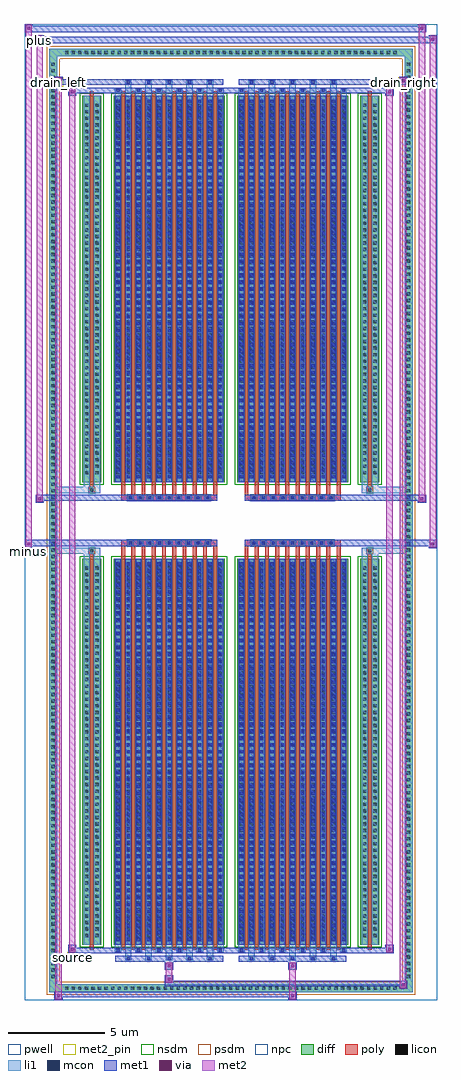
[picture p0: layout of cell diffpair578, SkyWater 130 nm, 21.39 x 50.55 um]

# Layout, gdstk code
import gdstk
lib = gdstk.Library(unit=1e-6, precision=5e-09)
def R(c, l, rs):  # rectangles x0, y0, x1, y1
    for r in rs: c.add(gdstk.rectangle(r[:2], r[2:], *l))
def A(c, l, x, y, w, h, nx, ny, dx, dy):  # array of equal rectangles
    R(c, l, [(x+i*dx, y+j*dy, x+i*dx+w, y+j*dy+h) for i in range(nx) for j in range(ny)])
def P(c, l, *ps):  # polygons
    for p in ps: c.add(gdstk.Polygon(p, *l))
pwell = (64, 44)
diff = (65, 20)
poly = (66, 20)
licon = (66, 44)
li1 = (67, 20)
mcon = (67, 44)
met1 = (68, 20)
via = (68, 44)
met2_pin = (69, 16)
met2 = (69, 20)
nsdm = (93, 44)
psdm = (94, 20)
npc = (95, 20)

diffpair578 = lib.new_cell('diffpair578')
R(diffpair578, pwell, [(-10.68,-24.84,10.68,25.71), (-8,-23.03,-0.01,-0.805), (0.01,-23.03,8,-0.805), (-8,0.805,-0.01,23.03), (0.01,0.805,8,23.03)])
A(diffpair578, diff, -8.705, -24.44, 0.41, 0.41, 51, 2, 0.34, 48.47)
A(diffpair578, diff, -9.41, -23.835, 0.41, 0.41, 1, 140, 0, 0.34)
A(diffpair578, diff, 9, -23.835, 0.41, 0.41, 1, 140, 0, 0.34)
R(diffpair578, diff, [(-8.705,-24.44,8.705,-24.03), (-9.41,-23.835,-9,23.835), (9,-23.835,9.41,23.835), (-7.69,-21.985,-6.71,-1.985), (-6.07,-21.985,-0.32,-1.985), (0.32,-21.985,6.07,-1.985), (6.71,-21.985,7.69,-1.985), (-7.69,1.985,-6.71,21.985), (-6.07,1.985,-0.32,21.985), (0.32,1.985,6.07,21.985), (6.71,1.985,7.69,21.985), (-8.705,24.03,8.705,24.44)])
P(diffpair578, diff, [(9.41,24.44),(-9.41,24.44),(-9.41,-24.03),(-9,-24.03),(-9,24.03),(9,24.03),(9,-24.03),(-9,-24.03),(-9.41,-24.03),(-9.41,-24.44),(9.41,-24.44)])
A(diffpair578, poly, -5.68, -22.235, 0.2, 20.5, 10, 2, 0.53, 23.97)
A(diffpair578, poly, 0.71, -22.235, 0.2, 20.5, 10, 2, 0.53, 23.97)
A(diffpair578, poly, -5.68, -1.735, 0.2, 0.4, 10, 2, 0.53, 3.07)
A(diffpair578, poly, 0.71, -1.735, 0.2, 0.4, 10, 2, 0.53, 3.07)
A(diffpair578, poly, -5.36, -1.335, 0.33, 0.33, 9, 2, 0.5, 2.34)
A(diffpair578, poly, 1.03, -1.335, 0.33, 0.33, 9, 2, 0.5, 2.34)
R(diffpair578, poly, [(-7.3,-22.235,-7.1,-1.735), (7.1,-22.235,7.3,-1.735), (-7.365,-1.735,-7.035,-1.405), (-7.365,-1.735,-7.035,-1.405), (7.035,-1.735,7.365,-1.405), (7.035,-1.735,7.365,-1.405), (-5.68,-1.335,-0.71,-1.005), (0.71,-1.335,5.68,-1.005), (-5.68,1.005,-0.71,1.335), (0.71,1.005,5.68,1.335), (-7.365,1.405,-7.035,1.735), (-7.365,1.405,-7.035,1.735), (7.035,1.405,7.365,1.735), (7.035,1.405,7.365,1.735), (-7.3,1.735,-7.1,22.235), (7.1,1.735,7.3,22.235)])
A(diffpair578, licon, -8.585, -24.32, 0.17, 0.17, 51, 2, 0.34, 48.47)
A(diffpair578, licon, -9.29, -23.715, 0.17, 0.17, 1, 140, 0, 0.34)
A(diffpair578, licon, 9.12, -23.715, 0.17, 0.17, 1, 140, 0, 0.34)
A(diffpair578, licon, -7.55, -21.59, 0.17, 0.17, 1, 57, 0, 0.34)
A(diffpair578, licon, -7.02, -21.59, 0.17, 0.17, 1, 57, 0, 0.34)
A(diffpair578, licon, -5.93, -21.59, 0.17, 0.17, 11, 57, 0.53, 0.34)
A(diffpair578, licon, 0.46, -21.59, 0.17, 0.17, 11, 57, 0.53, 0.34)
A(diffpair578, licon, 6.85, -21.59, 0.17, 0.17, 1, 57, 0, 0.34)
A(diffpair578, licon, 7.38, -21.59, 0.17, 0.17, 1, 57, 0, 0.34)
A(diffpair578, licon, -5.28, -1.255, 0.17, 0.17, 9, 2, 0.5, 2.34)
A(diffpair578, licon, 1.11, -1.255, 0.17, 0.17, 9, 2, 0.5, 2.34)
A(diffpair578, licon, -7.55, 2.38, 0.17, 0.17, 1, 57, 0, 0.34)
A(diffpair578, licon, -7.02, 2.38, 0.17, 0.17, 1, 57, 0, 0.34)
A(diffpair578, licon, -5.93, 2.38, 0.17, 0.17, 11, 57, 0.53, 0.34)
A(diffpair578, licon, 0.46, 2.38, 0.17, 0.17, 11, 57, 0.53, 0.34)
A(diffpair578, licon, 6.85, 2.38, 0.17, 0.17, 1, 57, 0, 0.34)
A(diffpair578, licon, 7.38, 2.38, 0.17, 0.17, 1, 57, 0, 0.34)
R(diffpair578, licon, [(-7.285,-1.655,-7.115,-1.485), (7.115,-1.655,7.285,-1.485), (-7.285,1.485,-7.115,1.655), (7.115,1.485,7.285,1.655)])
A(diffpair578, li1, -8.665, -24.4, 0.33, 0.33, 51, 2, 0.34, 48.47)
A(diffpair578, li1, -9.37, -23.795, 0.33, 0.33, 1, 140, 0, 0.34)
A(diffpair578, li1, 9.04, -23.795, 0.33, 0.33, 1, 140, 0, 0.34)
A(diffpair578, li1, -5.48, -22.79, 0.33, 0.805, 5, 2, 1.06, 44.775)
A(diffpair578, li1, -5.4, -22.79, 0.17, 0.17, 5, 2, 1.06, 45.41)
A(diffpair578, li1, 0.91, -22.79, 0.33, 0.805, 5, 2, 1.06, 44.775)
A(diffpair578, li1, 0.99, -22.79, 0.17, 0.17, 5, 2, 1.06, 45.41)
A(diffpair578, li1, -6.01, -22.36, 0.33, 0.375, 6, 2, 1.06, 44.345)
A(diffpair578, li1, -5.93, -22.36, 0.17, 0.17, 6, 2, 1.06, 44.55)
A(diffpair578, li1, 0.38, -22.36, 0.33, 0.375, 6, 2, 1.06, 44.345)
A(diffpair578, li1, 0.46, -22.36, 0.17, 0.17, 6, 2, 1.06, 44.55)
A(diffpair578, li1, -6.01, -21.985, 0.33, 20, 11, 2, 0.53, 23.97)
A(diffpair578, li1, 0.38, -21.985, 0.33, 20, 11, 2, 0.53, 23.97)
A(diffpair578, li1, -5.93, -21.79, 0.17, 0.17, 11, 55, 0.53, 0.36)
A(diffpair578, li1, -5.93, -21.79, 0.17, 19.61, 11, 2, 0.53, 23.97)
A(diffpair578, li1, 0.46, -21.79, 0.17, 0.17, 11, 55, 0.53, 0.36)
A(diffpair578, li1, 0.46, -21.79, 0.17, 19.61, 11, 2, 0.53, 23.97)
A(diffpair578, li1, -7.63, -21.67, 0.33, 0.33, 1, 57, 0, 0.34)
A(diffpair578, li1, -7.1, -21.67, 0.33, 0.33, 1, 57, 0, 0.34)
A(diffpair578, li1, -6.01, -21.67, 0.33, 0.33, 11, 57, 0.53, 0.34)
A(diffpair578, li1, 0.38, -21.67, 0.33, 0.33, 11, 57, 0.53, 0.34)
A(diffpair578, li1, 6.77, -21.67, 0.33, 0.33, 1, 57, 0, 0.34)
A(diffpair578, li1, 7.3, -21.67, 0.33, 0.33, 1, 57, 0, 0.34)
A(diffpair578, li1, -5.36, -1.335, 0.33, 0.33, 9, 2, 0.5, 2.34)
A(diffpair578, li1, 1.03, -1.335, 0.33, 0.33, 9, 2, 0.5, 2.34)
A(diffpair578, li1, -5.93, 2.18, 0.17, 0.17, 11, 55, 0.53, 0.36)
A(diffpair578, li1, 0.46, 2.18, 0.17, 0.17, 11, 55, 0.53, 0.36)
A(diffpair578, li1, -7.63, 2.3, 0.33, 0.33, 1, 57, 0, 0.34)
A(diffpair578, li1, -7.1, 2.3, 0.33, 0.33, 1, 57, 0, 0.34)
A(diffpair578, li1, -6.01, 2.3, 0.33, 0.33, 11, 57, 0.53, 0.34)
A(diffpair578, li1, 0.38, 2.3, 0.33, 0.33, 11, 57, 0.53, 0.34)
A(diffpair578, li1, 6.77, 2.3, 0.33, 0.33, 1, 57, 0, 0.34)
A(diffpair578, li1, 7.3, 2.3, 0.33, 0.33, 1, 57, 0, 0.34)
R(diffpair578, li1, [(-9.41,-24.44,-9,-24.03), (-9.41,-24.44,-9,-24.03), (-9,-24.44,9,-24.03), (9,-24.44,9.41,-24.03), (9,-24.44,9.41,-24.03), (-9.41,-24.03,-9,24.03), (9,-24.03,9.41,24.03), (-7.63,-21.985,-7.3,-1.985), (-7.1,-21.985,-6.77,-1.985), (6.77,-21.985,7.1,-1.985), (7.3,-21.985,7.63,-1.985), (-7.63,-1.985,-7.3,-1.405), (-7.1,-1.985,-6.77,-1.405), (6.77,-1.985,7.1,-1.405), (7.3,-1.985,7.63,-1.405), (-9.41,-1.735,-7.365,-1.405), (-7.63,-1.735,-7.365,-1.405), (-7.365,-1.735,-7.035,-1.405), (-7.035,-1.735,-6.77,-1.405), (6.77,-1.735,7.035,-1.405), (7.035,-1.735,7.365,-1.405), (7.035,-1.735,9.41,-1.405), (7.365,-1.735,7.63,-1.405), (-9.41,1.405,-7.365,1.735), (-7.63,1.405,-7.365,1.735), (-7.63,1.405,-7.3,1.985), (-7.365,1.405,-7.035,1.735), (-7.1,1.405,-6.77,1.985), (-7.035,1.405,-6.77,1.735), (6.77,1.405,7.035,1.735), (6.77,1.405,7.1,1.985), (7.035,1.405,7.365,1.735), (7.035,1.405,9.41,1.735), (7.3,1.405,7.63,1.985), (7.365,1.405,7.63,1.735), (-7.63,1.985,-7.3,21.985), (-7.1,1.985,-6.77,21.985), (6.77,1.985,7.1,21.985), (7.3,1.985,7.63,21.985), (-9.41,24.03,-9,24.44), (-9.41,24.03,-9,24.44), (-9,24.03,9,24.44), (9,24.03,9.41,24.44), (9,24.03,9.41,24.44)])
A(diffpair578, mcon, -5.4, -22.79, 0.17, 0.17, 5, 2, 1.06, 45.41)
A(diffpair578, mcon, 0.99, -22.79, 0.17, 0.17, 5, 2, 1.06, 45.41)
A(diffpair578, mcon, -5.93, -22.36, 0.17, 0.17, 6, 2, 1.06, 44.55)
A(diffpair578, mcon, 0.46, -22.36, 0.17, 0.17, 6, 2, 1.06, 44.55)
A(diffpair578, mcon, -5.93, -21.79, 0.17, 0.17, 11, 55, 0.53, 0.36)
A(diffpair578, mcon, 0.46, -21.79, 0.17, 0.17, 11, 55, 0.53, 0.36)
A(diffpair578, mcon, -5.28, -1.255, 0.17, 0.17, 9, 2, 0.5, 2.34)
A(diffpair578, mcon, 1.11, -1.255, 0.17, 0.17, 9, 2, 0.5, 2.34)
A(diffpair578, mcon, -5.93, 2.18, 0.17, 0.17, 11, 55, 0.53, 0.36)
A(diffpair578, mcon, 0.46, 2.18, 0.17, 0.17, 11, 55, 0.53, 0.36)
A(diffpair578, met1, -5.46, -22.85, 0.29, 0.29, 5, 2, 1.06, 45.41)
A(diffpair578, met1, 0.93, -22.85, 0.29, 0.29, 5, 2, 1.06, 45.41)
A(diffpair578, met1, -5.99, -22.42, 0.29, 0.29, 6, 2, 1.06, 44.55)
A(diffpair578, met1, 0.4, -22.42, 0.29, 0.29, 6, 2, 1.06, 44.55)
A(diffpair578, met1, -5.99, -21.985, 0.29, 20, 11, 2, 0.53, 23.97)
A(diffpair578, met1, 0.4, -21.985, 0.29, 20, 11, 2, 0.53, 23.97)
A(diffpair578, met1, -5.99, -21.85, 0.29, 0.29, 11, 55, 0.53, 0.36)
A(diffpair578, met1, 0.4, -21.85, 0.29, 0.29, 11, 55, 0.53, 0.36)
A(diffpair578, met1, -5.34, -1.315, 0.29, 0.29, 9, 2, 0.5, 2.34)
A(diffpair578, met1, 1.05, -1.315, 0.29, 0.29, 9, 2, 0.5, 2.34)
A(diffpair578, met1, -5.99, 2.12, 0.29, 0.29, 11, 55, 0.53, 0.36)
A(diffpair578, met1, 0.4, 2.12, 0.29, 0.29, 11, 55, 0.53, 0.36)
R(diffpair578, met1, [(-9.14,-24.84,-8.71,-24.41), (2.98,-24.84,3.41,-24.41), (-9.14,-24.7,3.41,-24.41), (8.71,-24.27,9.14,-23.84), (-3.41,-24.13,9.14,-23.84), (-3.41,-23.99,-2.98,-23.56), (-3.41,-23.28,-2.98,-22.85), (2.98,-23.28,3.41,-22.85), (-5.99,-22.85,-0.4,-22.56), (0.4,-22.85,5.99,-22.56), (-8.43,-22.42,-8,-21.99), (-8.43,-22.42,-5.99,-22.13), (-5.99,-22.42,-0.4,-22.13), (-0.4,-22.42,0.4,-22.13), (0.4,-22.42,5.99,-22.13), (5.99,-22.42,8.43,-22.13), (8,-22.42,8.43,-21.99), (-10.68,-1.435,-10.25,-1.005), (10.25,-1.435,10.68,-1.005), (-10.68,-1.335,-0.71,-1.005), (-5.68,-1.335,-0.71,-1.005), (0.71,-1.335,5.68,-1.005), (0.71,-1.335,10.68,-1.005), (-10.11,0.905,-9.68,1.335), (9.68,0.905,10.11,1.335), (-10.11,1.005,-5.68,1.335), (-5.68,1.005,-0.71,1.335), (0.71,1.005,5.68,1.335), (5.68,1.005,10.11,1.335), (-8.43,21.99,-8,22.42), (8,21.99,8.43,22.42), (-8.43,22.13,-5.99,22.42), (-5.99,22.13,-0.4,22.42), (-0.4,22.13,0.4,22.42), (0.4,22.13,5.99,22.42), (5.99,22.13,8.43,22.42), (-9.14,22.56,-8.71,22.99), (-9.14,22.56,-5.99,22.85), (-5.99,22.56,-0.4,22.85), (0.4,22.56,5.99,22.85), (5.99,22.56,9.14,22.85), (8.71,22.56,9.14,22.99), (-10.11,24.71,-9.68,25.14), (-10.11,24.71,-8,25.04), (-8,24.71,8,25.04), (8,24.71,10.68,25.04), (10.25,24.71,10.68,25.14), (-10.68,25.28,-10.25,25.71), (-10.68,25.28,-8,25.61), (-8,25.28,8,25.61), (8,25.28,10.11,25.61), (9.68,25.28,10.11,25.71)])
R(diffpair578, via, [(-9,-24.7,-8.85,-24.55), (3.12,-24.7,3.27,-24.55), (8.85,-24.13,9,-23.98), (-3.27,-23.85,-3.12,-23.7), (-3.27,-23.14,-3.12,-22.99), (3.12,-23.14,3.27,-22.99), (-8.29,-22.28,-8.14,-22.13), (8.14,-22.28,8.29,-22.13), (-10.54,-1.295,-10.39,-1.145), (10.39,-1.295,10.54,-1.145), (-9.97,1.045,-9.82,1.195), (9.82,1.045,9.97,1.195), (-8.29,22.13,-8.14,22.28), (8.14,22.13,8.29,22.28), (-9,22.7,-8.85,22.85), (8.85,22.7,9,22.85), (-9.97,24.85,-9.82,25), (10.39,24.85,10.54,25), (-10.54,25.42,-10.39,25.57), (9.82,25.42,9.97,25.57)])
R(diffpair578, met2_pin, [(-8.465,-22.87,-7.965,-22.37), (-10.715,-1.885,-10.215,-1.385), (-9.175,22.44,-8.675,22.94), (8.675,22.44,9.175,22.94), (-10.145,24.59,-9.645,25.09)])
R(diffpair578, met2, [(-9.09,-24.79,-8.76,-24.46), (-9.09,-24.79,-8.76,22.94), (3.03,-24.79,3.36,-24.46), (3.03,-24.46,3.36,-23.23), (8.76,-24.22,9.09,-23.89), (8.76,-24.22,9.09,22.94), (-3.36,-23.94,-3.03,-23.61), (-3.36,-23.61,-3.03,-23.23), (-3.36,-23.23,-3.03,-22.9), (3.03,-23.23,3.36,-22.9), (-8.38,-22.37,-8.05,-22.04), (-8.38,-22.37,-8.05,22.37), (8.05,-22.37,8.38,-22.04), (8.05,-22.37,8.38,22.37), (-10.63,-1.385,-10.3,-1.055), (-10.63,-1.385,-10.3,25.66), (10.3,-1.385,10.63,-1.055), (10.3,-1.385,10.63,25.09), (-10.06,0.955,-9.73,1.285), (-10.06,0.955,-9.73,25.09), (9.73,0.955,10.06,1.285), (9.73,0.955,10.06,25.66), (-8.38,22.04,-8.05,22.37), (8.05,22.04,8.38,22.37), (-9.09,22.61,-8.76,22.94), (8.76,22.61,9.09,22.94), (-10.06,24.76,-9.73,25.09), (10.3,24.76,10.63,25.09), (-10.63,25.33,-10.3,25.66), (9.73,25.33,10.06,25.66)])
P(diffpair578, met2, [(10.63,-1.385),(10.63,-1.385),(10.63,-1.055),(10.63,-1.055)],
  [(10.63,24.76),(10.63,24.76),(10.63,25.09),(10.63,25.09)],
  [(-10.3,-1.385),(-10.3,-1.385),(-10.3,-1.055),(-10.3,-1.055)],
  [(-10.3,25.33),(-10.3,25.33),(-10.3,25.66),(-10.3,25.66)],
  [(10.06,0.955),(10.06,0.955),(10.06,1.285),(10.06,1.285)],
  [(10.06,25.33),(10.06,25.33),(10.06,25.66),(10.06,25.66)],
  [(-9.73,0.955),(-9.73,0.955),(-9.73,1.285),(-9.73,1.285)],
  [(-9.73,24.76),(-9.73,24.76),(-9.73,25.09),(-9.73,25.09)],
  [(-8.76,-24.79),(-8.76,-24.79),(-8.76,-24.46),(-8.76,-24.46)],
  [(-8.76,22.61),(-8.76,22.61),(-8.76,22.94),(-8.76,22.94)],
  [(9.09,-24.22),(9.09,-24.22),(9.09,-23.89),(9.09,-23.89)],
  [(9.09,22.61),(9.09,22.61),(9.09,22.94),(9.09,22.94)],
  [(-8.05,-22.37),(-8.05,-22.37),(-8.05,-22.04),(-8.05,-22.04)],
  [(-8.05,22.04),(-8.05,22.04),(-8.05,22.37),(-8.05,22.37)],
  [(8.38,-22.37),(8.38,-22.37),(8.38,-22.04),(8.38,-22.04)],
  [(8.38,22.04),(8.38,22.04),(8.38,22.37),(8.38,22.37)])
R(diffpair578, nsdm, [(-7.82,-22.115,-6.58,-1.855), (-6.2,-22.115,-0.19,-1.855), (0.19,-22.115,6.2,-1.855), (6.58,-22.115,7.82,-1.855), (-7.82,1.855,-6.58,22.115), (-6.2,1.855,-0.19,22.115), (0.19,1.855,6.2,22.115), (6.58,1.855,7.82,22.115)])
P(diffpair578, psdm, [(9.54,24.57),(-9.54,24.57),(-9.54,-23.9),(-8.87,-23.9),(-8.87,23.9),(8.87,23.9),(8.87,-23.9),(-8.87,-23.9),(-9.54,-23.9),(-9.54,-24.57),(9.54,-24.57)])
A(diffpair578, npc, -5.38, -1.355, 0.37, 0.37, 9, 2, 0.5, 2.34)
A(diffpair578, npc, 1.01, -1.355, 0.37, 0.37, 9, 2, 0.5, 2.34)
R(diffpair578, npc, [(-7.385,-1.755,-7.015,-1.385), (7.015,-1.755,7.385,-1.385), (-5.38,-1.355,-4.51,-0.985), (-5.38,-1.355,-4.51,-0.985), (-4.88,-1.355,-4.01,-0.985), (-4.88,-1.355,-4.01,-0.985), (-4.38,-1.355,-3.51,-0.985), (-4.38,-1.355,-3.51,-0.985), (-3.88,-1.355,-3.01,-0.985), (-3.88,-1.355,-3.01,-0.985), (-3.38,-1.355,-2.51,-0.985), (-3.38,-1.355,-2.51,-0.985), (-2.88,-1.355,-2.01,-0.985), (-2.88,-1.355,-2.01,-0.985), (-2.38,-1.355,-1.51,-0.985), (-2.38,-1.355,-1.51,-0.985), (-1.88,-1.355,-1.01,-0.985), (-1.88,-1.355,-1.01,-0.985), (1.01,-1.355,1.88,-0.985), (1.01,-1.355,1.88,-0.985), (1.51,-1.355,2.38,-0.985), (1.51,-1.355,2.38,-0.985), (2.01,-1.355,2.88,-0.985), (2.01,-1.355,2.88,-0.985), (2.51,-1.355,3.38,-0.985), (2.51,-1.355,3.38,-0.985), (3.01,-1.355,3.88,-0.985), (3.01,-1.355,3.88,-0.985), (3.51,-1.355,4.38,-0.985), (3.51,-1.355,4.38,-0.985), (4.01,-1.355,4.88,-0.985), (4.01,-1.355,4.88,-0.985), (4.51,-1.355,5.38,-0.985), (4.51,-1.355,5.38,-0.985), (-5.38,0.985,-4.51,1.355), (-5.38,0.985,-4.51,1.355), (-4.88,0.985,-4.01,1.355), (-4.88,0.985,-4.01,1.355), (-4.38,0.985,-3.51,1.355), (-4.38,0.985,-3.51,1.355), (-3.88,0.985,-3.01,1.355), (-3.88,0.985,-3.01,1.355), (-3.38,0.985,-2.51,1.355), (-3.38,0.985,-2.51,1.355), (-2.88,0.985,-2.01,1.355), (-2.88,0.985,-2.01,1.355), (-2.38,0.985,-1.51,1.355), (-2.38,0.985,-1.51,1.355), (-1.88,0.985,-1.01,1.355), (-1.88,0.985,-1.01,1.355), (1.01,0.985,1.88,1.355), (1.01,0.985,1.88,1.355), (1.51,0.985,2.38,1.355), (1.51,0.985,2.38,1.355), (2.01,0.985,2.88,1.355), (2.01,0.985,2.88,1.355), (2.51,0.985,3.38,1.355), (2.51,0.985,3.38,1.355), (3.01,0.985,3.88,1.355), (3.01,0.985,3.88,1.355), (3.51,0.985,4.38,1.355), (3.51,0.985,4.38,1.355), (4.01,0.985,4.88,1.355), (4.01,0.985,4.88,1.355), (4.51,0.985,5.38,1.355), (4.51,0.985,5.38,1.355), (-7.385,1.385,-7.015,1.755), (7.015,1.385,7.385,1.755)])
diffpair578.add(gdstk.Label('minus', (-10.465,-1.635), layer=69, texttype=5))
diffpair578.add(gdstk.Label('drain_right', (8.925,22.69), layer=69, texttype=5))
diffpair578.add(gdstk.Label('drain_left', (-8.925,22.69), layer=69, texttype=5))
diffpair578.add(gdstk.Label('source', (-8.215,-22.62), layer=69, texttype=5))
diffpair578.add(gdstk.Label('plus', (-9.895,24.84), layer=69, texttype=5))

lib.write_gds('diffpair578.gds')
